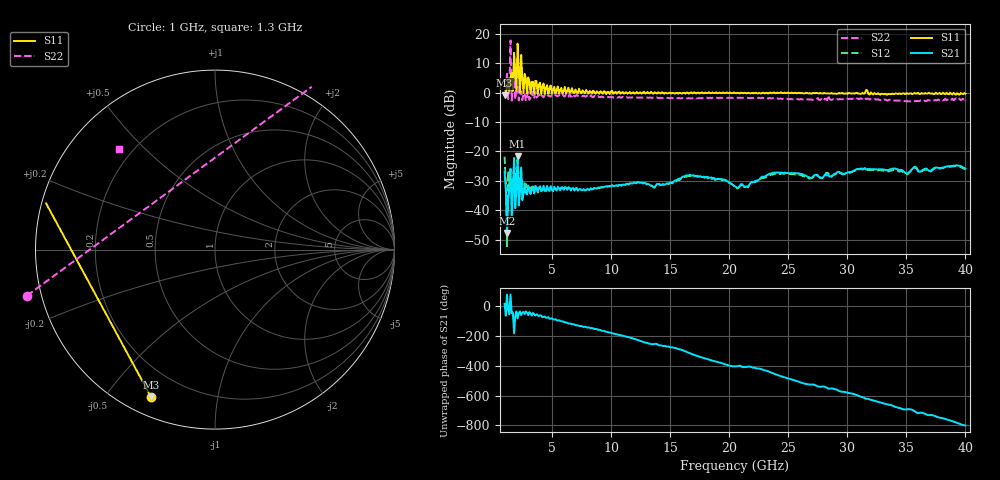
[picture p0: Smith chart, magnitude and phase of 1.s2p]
!Keysight Technologies,N5224A,MY55441802,A.10.65.16
!Date: Wednesday, May 13, 2026 19:06:48
!Correction: S11(Full 2 Port(1,2))
!S21(Full 2 Port(1,2))
!S12(Full 2 Port(1,2))
!S22(Full 2 Port(1,2))
!S2P File: Measurements: S11, S21, S12, S22:
# Hz S  dB  R 50
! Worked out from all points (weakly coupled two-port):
!   391 points, 1 GHz to 40 GHz, reference 50 ohm
!   highest |S21| = -21.71 dB at 2.1 GHz (marker M1); lowest = -47.8 dB at 1.2 GHz (marker M2)
!   lowest |S11| = -1.0 dB at 1 GHz (marker M3), VSWR 18.30, Z = 3.91 - j32.7 ohm
!   |S11| at or under -10 dB: nowhere
!   |S22| runs from -3.1 to 17.7 dB; largest |S21 - S12| = 0.037
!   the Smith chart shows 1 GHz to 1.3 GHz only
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1e9  -0.95 -113.4  -26.90 17.6  -21.79 11.4  0.66 -166.2
1.1e9  -0.21 164.7  -32.63 -62.2  -30.87 -52.8  0.47 59.3
1.2e9  1.76 9.4  -47.79 80.1  -52.24 138.4  6.85 5.2
1.3e9  4.63 -133.4  -36.56 -21.2  -26.73 -22.4  -2.22 133.9
1.4e9  0.62 171.1  -32.76 -52.7  -30.98 -52.7  1.19 55.3
1.5e9  5.09 16.3  -25.91 79.9  -31.25 114.8  17.73 24.9
1.6e9  6.70 -145.7  -41.78 -46.0  -29.16 -40.2  -2.70 115.5
1.7e9  0.51 172.0  -33.40 -40.6  -32.06 -39.7  1.55 66.7
1.8e9  13.54 22.0  -22.26 178.9  -24.00 -166.6  9.20 110.9
1.9e9  7.36 -152.3  -39.32 -63.4  -29.48 -47.2  -2.33 104.4
2e9  0.65 170.2  -33.15 -33.0  -32.59 -35.6  1.21 70.4
2.1e9  16.65 117.9  -21.71 -81.1  -22.87 -77.0  2.03 96.0
2.2e9  7.26 -155.7  -38.38 -44.5  -29.43 -50.1  -2.68 94.8
2.3e9  0.12 170.3  -33.98 -33.3  -33.61 -38.8  -0.01 70.0
2.4e9  12.79 145.7  -25.46 -58.7  -26.81 -53.6  0.38 79.6
2.5e9  5.01 -170.1  -36.55 -41.4  -31.37 -54.1  -2.59 84.2
7.5e9  -0.23 155.8  -33.13 -131.5  -33.21 -134.6  -1.07 -126.7
1.4e10  0.08 137.8  -31.11 101.6  -31.17 100.5  -1.83 -22.4
2.05e10  -0.10 118.7  -31.90 -43.2  -31.86 -44.6  -1.76 67.7
2.7e10  -0.34 96.6  -28.96 -164.7  -29.01 -163.2  -2.41 168.8
3.35e10  -0.46 77.7  -26.35 60.4  -26.85 59.6  -2.49 -80.4
4e10  -0.41 60.8  -25.81 -80.5  -26.11 -80.5  -2.13 19.1
